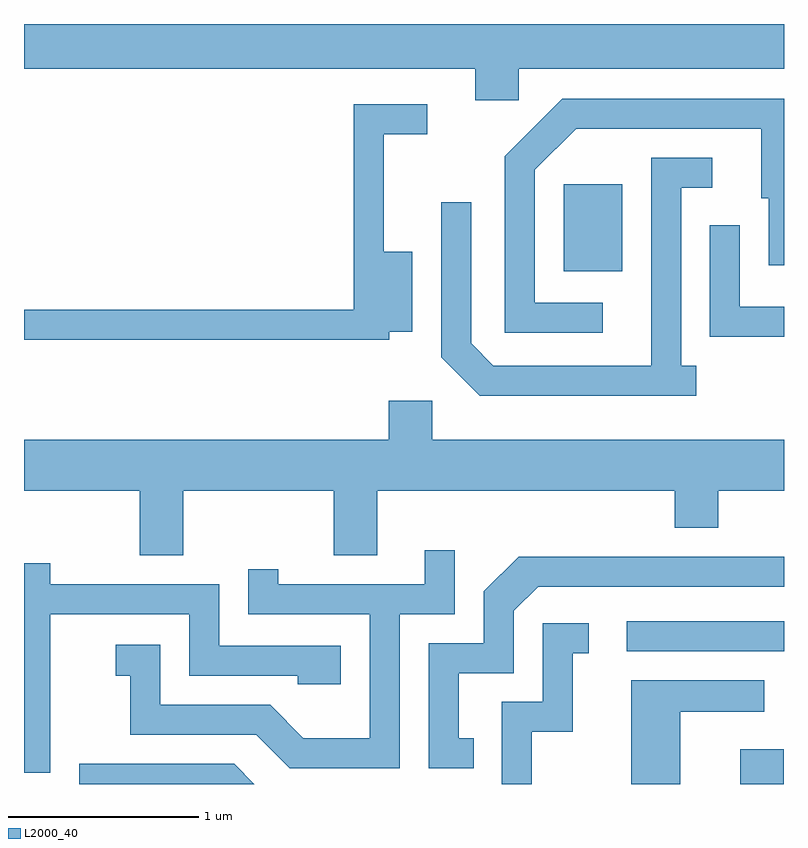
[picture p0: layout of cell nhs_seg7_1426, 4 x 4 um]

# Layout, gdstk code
import gdstk
lib = gdstk.Library(unit=1e-6, precision=1e-09)
def R(c, l, rs):  # rectangles x0, y0, x1, y1
    for r in rs: c.add(gdstk.rectangle(r[:2], r[2:], *l))
def P(c, l, *ps):  # polygons
    for p in ps: c.add(gdstk.Polygon(p, *l))
L2000_40 = (2000, 40)

nhs_seg7_1426 = lib.new_cell('nhs_seg7_1426')
R(nhs_seg7_1426, L2000_40, [(231.381,1788.252,231.609,1788.434), (230.783,1788.951,231.611,1789.109), (230.451,1790.951,230.759,1791.409)])
P(nhs_seg7_1426, L2000_40, [(230.214,1792.016),(231.611,1792.016),(231.611,1792.252),(227.611,1792.252),(227.611,1792.016),(229.986,1792.016),(229.986,1791.851),(230.214,1791.851)],
  [(230.658,1790.784),(230.299,1790.784),(230.299,1791.484),(230.517,1791.701),(231.491,1791.701),(231.491,1791.336),(231.531,1791.336),(231.531,1790.981),(231.611,1790.981),(231.611,1791.859),(230.444,1791.859),(230.141,1791.557),(230.141,1790.626),(230.658,1790.626)],
  [(229.534,1790.631),(229.654,1790.631),(229.654,1791.054),(229.504,1791.054),(229.504,1791.671),(229.733,1791.671),(229.733,1791.829),(229.346,1791.829),(229.346,1790.749),(227.611,1790.749),(227.611,1790.591),(229.534,1790.591)],
  [(231.148,1790.454),(231.069,1790.454),(231.069,1791.391),(231.233,1791.391),(231.233,1791.549),(230.911,1791.549),(230.911,1790.454),(230.082,1790.454),(229.964,1790.572),(229.964,1791.313),(229.806,1791.313),(229.806,1790.499),(230.009,1790.296),(231.148,1790.296)],
  [(231.611,1790.764),(231.379,1790.764),(231.379,1791.193),(231.221,1791.193),(231.221,1790.606),(231.611,1790.606)],
  [(228.449,1789.796),(229.241,1789.796),(229.241,1789.456),(229.469,1789.456),(229.469,1789.796),(231.036,1789.796),(231.036,1789.601),(231.264,1789.601),(231.264,1789.796),(231.611,1789.796),(231.611,1790.064),(229.759,1790.064),(229.759,1790.269),(229.531,1790.269),(229.531,1790.064),(227.611,1790.064),(227.611,1789.796),(228.221,1789.796),(228.221,1789.456),(228.449,1789.456)],
  [(229.589,1789.146),(229.879,1789.146),(229.879,1789.483),(229.721,1789.483),(229.721,1789.304),(228.949,1789.304),(228.949,1789.383),(228.791,1789.383),(228.791,1789.146),(229.431,1789.146),(229.431,1788.494),(229.082,1788.494),(228.907,1788.669),(228.329,1788.669),(228.329,1788.984),(228.093,1788.984),(228.093,1788.821),(228.171,1788.821),(228.171,1788.511),(228.834,1788.511),(229.009,1788.336),(229.589,1788.336)],
  [(229.978,1788.494),(229.899,1788.494),(229.899,1788.836),(230.189,1788.836),(230.189,1789.164),(230.317,1789.291),(231.611,1789.291),(231.611,1789.449),(230.214,1789.449),(230.031,1789.267),(230.031,1788.994),(229.741,1788.994),(229.741,1788.336),(229.978,1788.336)],
  [(227.749,1789.146),(228.481,1789.146),(228.481,1788.821),(229.051,1788.821),(229.051,1788.776),(229.279,1788.776),(229.279,1788.979),(228.639,1788.979),(228.639,1789.304),(227.749,1789.304),(227.749,1789.414),(227.611,1789.414),(227.611,1788.311),(227.749,1788.311)],
  [(230.284,1788.526),(230.499,1788.526),(230.499,1788.941),(230.583,1788.941),(230.583,1789.099),(230.341,1789.099),(230.341,1788.684),(230.126,1788.684),(230.126,1788.252),(230.284,1788.252)],
  [(231.064,1788.631),(231.508,1788.631),(231.508,1788.799),(230.806,1788.799),(230.806,1788.252),(231.064,1788.252)],
  [(228.717,1788.359),(227.901,1788.359),(227.901,1788.252),(228.824,1788.252)])

lib.write_gds('nhs_seg7_1426.gds')
